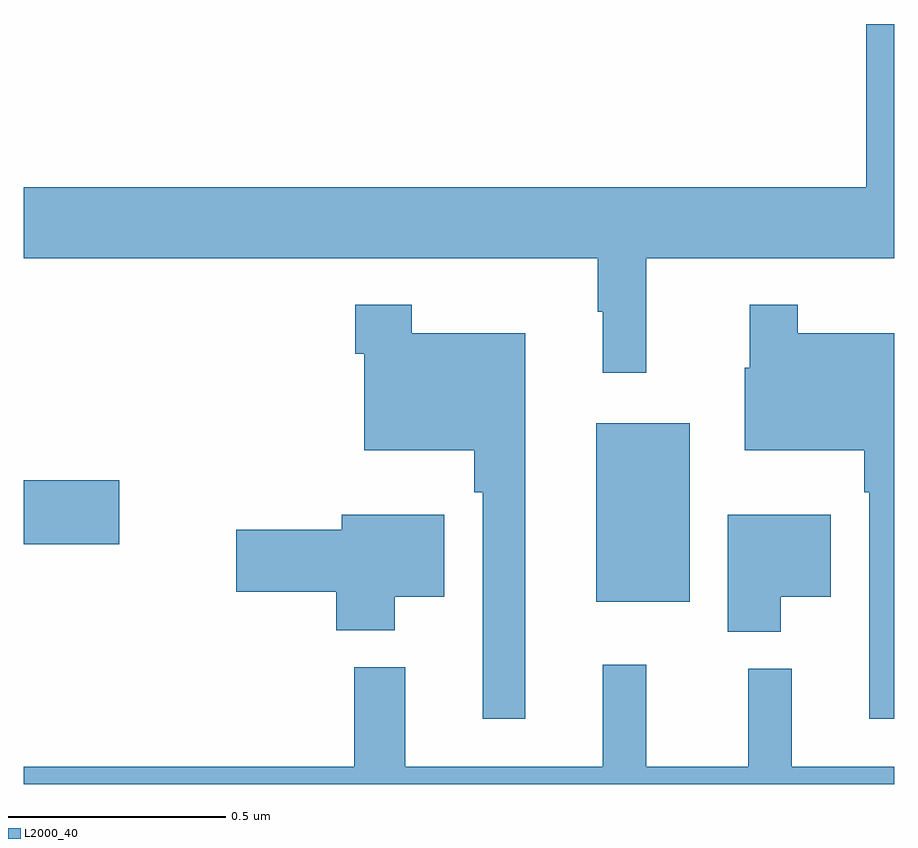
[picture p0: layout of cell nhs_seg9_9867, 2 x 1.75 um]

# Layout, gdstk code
import gdstk
lib = gdstk.Library(unit=1e-6, precision=1e-09)
def R(c, l, rs):  # rectangles x0, y0, x1, y1
    for r in rs: c.add(gdstk.rectangle(r[:2], r[2:], *l))
def P(c, l, *ps):  # polygons
    for p in ps: c.add(gdstk.Polygon(p, *l))
L2000_40 = (2000, 40)

nhs_seg9_9867 = lib.new_cell('nhs_seg9_9867')
R(nhs_seg9_9867, L2000_40, [(236.315,1240.919,236.53,1241.329), (235,1241.051,235.219,1241.198)])
P(nhs_seg9_9867, L2000_40, [(236.43,1241.708),(237,1241.708),(237,1242.247),(236.936,1242.247),(236.936,1241.872),(235,1241.872),(235,1241.708),(236.319,1241.708),(236.319,1241.585),(236.33,1241.585),(236.33,1241.445),(236.43,1241.445)],
  [(237,1241.536),(236.779,1241.536),(236.779,1241.602),(236.668,1241.602),(236.668,1241.457),(236.657,1241.457),(236.657,1241.267),(236.931,1241.267),(236.931,1241.171),(236.943,1241.171),(236.943,1240.65),(237,1240.65)],
  [(236.152,1241.536),(235.891,1241.536),(235.891,1241.602),(235.762,1241.602),(235.762,1241.489),(235.782,1241.489),(235.782,1241.267),(236.035,1241.267),(236.035,1241.171),(236.055,1241.171),(236.055,1240.65),(236.152,1240.65)],
  [(235.852,1240.931),(235.966,1240.931),(235.966,1241.119),(235.73,1241.119),(235.73,1241.084),(235.488,1241.084),(235.488,1240.942),(235.718,1240.942),(235.718,1240.853),(235.852,1240.853)],
  [(236.74,1240.931),(236.854,1240.931),(236.854,1241.119),(236.618,1241.119),(236.618,1240.85),(236.74,1240.85)],
  [(237,1240.54),(236.765,1240.54),(236.765,1240.765),(236.665,1240.765),(236.665,1240.54),(236.43,1240.54),(236.43,1240.774),(236.33,1240.774),(236.33,1240.54),(235.877,1240.54),(235.877,1240.768),(235.759,1240.768),(235.759,1240.54),(235,1240.54),(235,1240.5),(237,1240.5)])

lib.write_gds('nhs_seg9_9867.gds')
